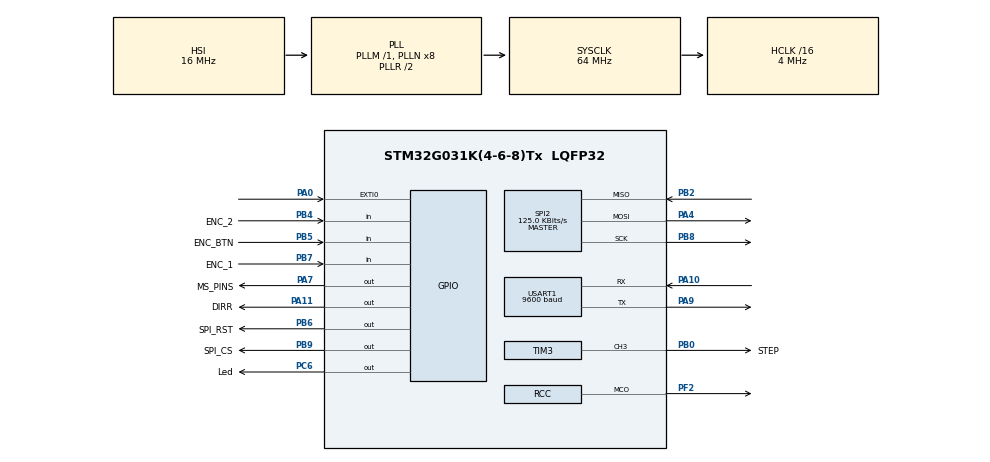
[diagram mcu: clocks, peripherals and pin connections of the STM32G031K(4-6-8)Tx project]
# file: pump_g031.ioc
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Mcu.Family=STM32G0
Mcu.Name=STM32G031K(4-6-8)Tx
Mcu.Package=LQFP32
NVIC.EXTI0_1_IRQn=true\:0\:0\:false\:false\:true\:true\:true
NVIC.FLASH_IRQn=true\:0\:0\:false\:false\:true\:true\:true
NVIC.RCC_IRQn=true\:0\:0\:false\:false\:true\:true\:false
NVIC.TIM2_IRQn=true\:0\:0\:false\:false\:true\:true\:true
PA0.Signal=GPXTI0
PA10.Mode=Asynchronous
PA10.Signal=USART1_RX
PA11\ [PA9].GPIO_Label=DIRR
PA11\ [PA9].Signal=GPIO_Output
PA13.Mode=Serial_Wire
PA13.Signal=SYS_SWDIO
PA14-BOOT0.Mode=Serial_Wire
PA14-BOOT0.Signal=SYS_SWCLK
PA4.Mode=Full_Duplex_Master
PA4.Signal=SPI2_MOSI
PA7.GPIO_Label=MS_PINS
PA7.Signal=GPIO_Output
PA9.Mode=Asynchronous
PA9.Signal=USART1_TX
PB0.GPIO_Label=STEP
PB0.Signal=S_TIM3_CH3
PB2.Mode=Full_Duplex_Master
PB2.Signal=SPI2_MISO
PB4.GPIO_Label=ENC_2
PB4.GPIO_PuPd=GPIO_PULLUP
PB4.Signal=GPIO_Input
PB5.GPIO_Label=ENC_BTN
PB5.GPIO_PuPd=GPIO_PULLUP
PB5.Signal=GPIO_Input
PB6.GPIO_Label=SPI_RST
PB6.Signal=GPIO_Output
PB7.GPIO_Label=ENC_1
PB7.GPIO_PuPd=GPIO_PULLUP
PB7.Signal=GPIO_Input
PB8.Mode=Full_Duplex_Master
PB8.Signal=SPI2_SCK
PB9.GPIO_Label=SPI_CS
PB9.Signal=GPIO_Output
PC6.GPIO_Label=Led
PC6.Signal=GPIO_Output
PF2\ -\ NRST.Mode=Clock-out
PF2\ -\ NRST.Signal=RCC_MCO
ProjectManager.HeapSize=0x200
ProjectManager.StackSize=0x400
ProjectManager.TargetToolchain=MDK-ARM V5.27
RCC.ADCFreq_Value=64000000
RCC.AHBCLKDivider=RCC_SYSCLK_DIV16
RCC.AHBFreq_Value=4000000
RCC.APB1CLKDivider=RCC_HCLK_DIV16
RCC.CortexFreq_Value=4000000
RCC.EXTERNAL_CLOCK_VALUE=12288000
RCC.HCLKFreq_Value=4000000
RCC.HSE_VALUE=8000000
RCC.HSI_VALUE=16000000
RCC.LSE_VALUE=32768
RCC.SYSCLKFreq_VALUE=64000000
RCC.SYSCLKSource=RCC_SYSCLKSOURCE_PLLCLK
RCC.VCOOutputFreq_Value=128000000
SH.S_TIM3_CH3.0=TIM3_CH3,Output Compare3 CH3
SPI2.BaudRatePrescaler=SPI_BAUDRATEPRESCALER_2
SPI2.CLKPhase=SPI_PHASE_2EDGE
SPI2.CLKPolarity=SPI_POLARITY_LOW
SPI2.CRCCalculation=SPI_CRCCALCULATION_DISABLE
SPI2.CalculateBaudRate=125.0 KBits/s
SPI2.Direction=SPI_DIRECTION_2LINES
SPI2.Mode=SPI_MODE_MASTER
SPI2.VirtualType=VM_MASTER
TIM2.Period=1000
TIM2.Prescaler=500-1
TIM3.AutoReloadPreload=TIM_AUTORELOAD_PRELOAD_ENABLE
TIM3.Channel-Output\ Compare3\ CH3=TIM_CHANNEL_3
TIM3.OCMode_3=TIM_OCMODE_FORCED_ACTIVE
TIM3.Period=1000
TIM3.TIM_MasterOutputTrigger=TIM_TRGO_UPDATE
USART1.BaudRate=9600
USART1.VirtualMode-Asynchronous=VM_ASYNC
VP_TIM2_VS_ClockSourceINT.Mode=Internal
VP_TIM3_VS_ClockSourceINT.Mode=Internal
board=custom

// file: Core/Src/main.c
/* USER CODE BEGIN Header */
/**
  ******************************************************************************
  * @file           : main.c
  * @brief          : Main program body
  ******************************************************************************
  * @attention
  *
  * <h2><center>&copy; Copyright (c) 2021 STMicroelectronics.
  * All rights reserved.</center></h2>
  *
  * This software component is licensed by ST under BSD 3-Clause license,
  * the "License"; You may not use this file except in compliance with the
  * License. You may obtain a copy of the License at:
  *                        opensource.org/licenses/BSD-3-Clause
  *
  ******************************************************************************
  */
/* USER CODE END Header */
#include "main.h"

/* USER CODE BEGIN Includes */
#include "stm32g0xx_hal.h"
#include "stdlib.h"
#include "string.h"
#include "stdio.h"
#include "math.h"
#include "bitmap.h"
#include "asciiFont.h"
/* USER CODE END Includes */

/* USER CODE BEGIN PTD */
#ifdef __GNUC__						//Printf function
  /* With GCC, small printf (option LD Linker->Libraries->Small printf
     set to 'Yes') calls __io_putchar() */
  #define PUTCHAR_PROTOTYPE int __io_putchar(int ch)
#else
  #define PUTCHAR_PROTOTYPE int fputc(int ch, FILE *f)
#endif /* __GNUC__ */

	#ifdef __GNUC__
#define GETCHAR_PROTOTYPE int __io_getchar (void)
#else
#define GETCHAR_PROTOTYPE int fgetc(FILE * f)
#endif /* __GNUC__ */

/* USER CODE END PTD */

SPI_HandleTypeDef hspi2;

TIM_HandleTypeDef htim2;
TIM_HandleTypeDef htim3;

UART_HandleTypeDef huart1;

void SystemClock_Config(void);
static void MX_GPIO_Init(void);
static void MX_TIM2_Init(void);
static void MX_TIM3_Init(void);
static void MX_USART1_UART_Init(void);
static void MX_SPI2_Init(void);

/* USER CODE BEGIN 0 */
//*************************Vals
uint16_t Count=0;
uint32_t TIM_CLOCK=500000;
uint16_t Frequency=0;
uint16_t Arr=0;
uint16_t Psc=0;
uint32_t abcdsw=0;
float mili_to_height=0;
int open_tims=0;

uint16_t milliLiter, timSec, direcT = 0;
char mode[10];
//*************************UART
uint16_t UARTmenuBuff[1]={'0'};
uint8_t UARTmenuScale=0;
int UARTSetmenu=0;
uint8_t UARTSetmenuScale=0;

int UARTmenu=3;
int UARTtime, UARTdistance, UARTdirection, UARTSelection;
char syringe[10];
int selection=0;
float Syringe_volume=0;
float Syringe_radius, Syringe_height;
#define M_PI 3.14159265358979323846
//*************************GLCD
uint8_t startRow, startCol, endRow, endCol; // coordinates of the dirty rectangle
uint8_t numRows = 64;
uint8_t numCols = 128;
uint8_t Graphic_Check = 0;
uint8_t image[1024];
int cursor = 0;
int line, line_buffer = 0;
int main_menu ,sub_menu_1, sub_menu_2, sub_menu_3 = 0;
int row_tracer = 0;
int GLCDtime, GLCDdistance, GLCDdirection;
int GLCD_active = 0;
int GLCD_pump_active = 0;
//*************************Encoder
int encoder_pos = 0;
int encoder_button = 0;
int encoder_buffer = 0;
int encoder_last_post = 0;

int encoder_pos_right =0;
int encoder_pos_left =0;
//*************************Functions
//******************glcd functions***************************************//
void SendByteSPI(uint8_t byte)
{//Spi bridge
	HAL_SPI_Transmit(&hspi2, &byte, 1,0xFFFF);
}

void ST7920_SendCmd (uint8_t cmd)
{//Commands
	HAL_GPIO_WritePin(SPI_CS_GPIO_Port, SPI_CS_Pin, GPIO_PIN_SET);  // PUll the CS high
	SendByteSPI(0xf8+(0<<1));  // send the SYNC + RS(0)
	SendByteSPI(cmd&0xf0);  // send the higher nibble first
	SendByteSPI((cmd<<4)&0xf0);  // send the lower nibble
	HAL_Delay(1);
	HAL_GPIO_WritePin(SPI_CS_GPIO_Port, SPI_CS_Pin, GPIO_PIN_RESET);  // PUll the CS LOW
}

void ST7920_SendData (uint8_t data)
{//Actual data
	HAL_GPIO_WritePin(SPI_CS_GPIO_Port, SPI_CS_Pin, GPIO_PIN_SET);  // PUll the CS high
	SendByteSPI(0xf8+(1<<1));  // send the SYNC + RS(1)
	SendByteSPI(data&0xf0);  // send the higher nibble first
	SendByteSPI((data<<4)&0xf0);  // send the lower nibble
	HAL_Delay(1);
	HAL_GPIO_WritePin(SPI_CS_GPIO_Port, SPI_CS_Pin, GPIO_PIN_RESET);  // PUll the CS LOW
}

void ST7920_SendString(int row, int col, char* string)
{//For text mode: 4 row 20 char string
	switch (row)
	{
		case 0:
			col |= 0x80;
			break;
		case 1:
			col |= 0x90;
			break;
		case 2:
			col |= 0x88;
			break;
		case 3:
			col |= 0x98;
			break;
		default:
			col |= 0x80;
			break;
	}
	ST7920_SendCmd(col);

	while (*string){
		ST7920_SendData(*string++);
    }
}
void ST7920_SendInteger(int row, int col, int integer)
{//For text mode: 4 row 20 char integer
	switch (row)
	{
		case 0:
			col |= 0x80;
			break;
		case 1:
			col |= 0x90;
			break;
		case 2:
			col |= 0x88;
			break;
		case 3:
			col |= 0x98;
			break;
		default:
			col |= 0x80;
			break;
	}
	ST7920_SendCmd(col);

		for(int q =0; q<sizeof(integer)-1; q++){
		char numStr[sizeof(integer)-1];
		sprintf(numStr,"%d", integer);
		ST7920_SendData(numStr[q]);
    }
}
void ST7920_GraphicMode (int enable)   // 1-enable, 0-disable
{//1: Graphic mode, 0: Text mode
	if (enable == 1)
	{
		ST7920_SendCmd(0x30);  // 8 bit mode
		HAL_Delay (1);
		ST7920_SendCmd(0x34);  // switch to Extended instructions
		HAL_Delay (1);
		ST7920_SendCmd(0x36);  // enable graphics
		HAL_Delay (1);
		Graphic_Check = 1;  // update the variable
	}

	else if (enable == 0)
	{
		ST7920_SendCmd(0x30);  // 8 bit mode
		HAL_Delay (1);
		Graphic_Check = 0;  // update the variable
	}
}

void ST7920_Init (void)
{//Initialization
	HAL_GPIO_WritePin(SPI_RST_GPIO_Port, SPI_RST_Pin, GPIO_PIN_RESET);  // RESET=0
	HAL_Delay(10);   // wait for 10ms
	HAL_GPIO_WritePin(SPI_RST_GPIO_Port, SPI_RST_Pin, GPIO_PIN_SET);  // RESET=1

	HAL_Delay(50);   //wait for >40 ms

	ST7920_SendCmd(0x30);  // 8bit mode
	HAL_Delay(15);  //  >100us delay

	ST7920_SendCmd(0x30);  // 8bit mode
	HAL_Delay(5);  // >37us delay

	ST7920_SendCmd(0x08);  // D=0, C=0, B=0
	HAL_Delay(15);  // >100us delay

	ST7920_SendCmd(0x01);  // clear screen
	HAL_Delay(12);  // >10 ms delay

	ST7920_SendCmd(0x06);  // cursor increment right no shift
	HAL_Delay(1);  // 1ms delay

	ST7920_SendCmd(0x0C);  // D=1, C=0, B=0
    HAL_Delay(1);  // 1ms delay

	ST7920_SendCmd(0x02);  // return to home
	HAL_Delay(1);  // 1ms delay
}

void ST7920_Clear()
{//Clear
	if (Graphic_Check == 1)  // if the graphic mode is set
	{
		uint8_t x, y;
		for(y = 0; y < 64; y++)
		{
			if(y < 32)
			{
				ST7920_SendCmd(0x80 | y);
				ST7920_SendCmd(0x80);
			}
			else
			{
				ST7920_SendCmd(0x80 | (y-32));
				ST7920_SendCmd(0x88);
			}
			for(x = 0; x < 8; x++)
			{
				ST7920_SendData(0);
				ST7920_SendData(0);
			}
		}
	}

	else
	{
		ST7920_SendCmd(0x01);   // clear the display using command
		HAL_Delay(2); // delay >1.6 ms
	}
}

void ST7920_DrawBitmap(const unsigned char* graphic)
{
	uint8_t x, y;
	for(y = 0; y < 64; y++)
	{
		if(y < 32)
		{
			for(x = 0; x < 8; x++)							// Draws top half of the screen.
			{												// In extended instruction mode, vertical and horizontal coordinates must be specified before sending data in.
				ST7920_SendCmd(0x80 | y);				// Vertical coordinate of the screen is specified first. (0-31)
				ST7920_SendCmd(0x80 | x);				// Then horizontal coordinate of the screen is specified. (0-8)
				ST7920_SendData(graphic[2*x + 16*y]);		// Data to the upper byte is sent to the coordinate.
				ST7920_SendData(graphic[2*x+1 + 16*y]);	// Data to the lower byte is sent to the coordinate.
			}
		}
		else
		{
			for(x = 0; x < 8; x++)							// Draws bottom half of the screen.
			{												// Actions performed as same as the upper half screen.
				ST7920_SendCmd(0x80 | (y-32));			// Vertical coordinate must be scaled back to 0-31 as it is dealing with another half of the screen.
				ST7920_SendCmd(0x88 | x);
				ST7920_SendData(graphic[2*x + 16*y]);
				ST7920_SendData(graphic[2*x+1 + 16*y]);
			}
		}

	}
}

//******************encoder functions************************************//
void encoder_movements(){
//if(cursor == 1){
	if((HAL_GPIO_ReadPin(ENC_BTN_GPIO_Port,ENC_BTN_Pin) == 0) || (line_buffer == 2)){
		while(HAL_GPIO_ReadPin(ENC_BTN_GPIO_Port,ENC_BTN_Pin) == 0);
//		if(encoder_button == 0){
		if(encoder_button == 1){
			if(line == 1){
				main_menu = 1;
			}
			else if(line == 2){
				main_menu = 2;
			}
			else{
				main_menu = 0;
				encoder_button=0;
			}
		}
		if((encoder_button == 2) && (main_menu == 3)){
			if(line == 0){
				sub_menu_1 = 0;
				main_menu = 0;
			}
			else if(line == 1){
				sub_menu_1 = 1;
				main_menu = 0;
			}
			else if(line == 2){
				sub_menu_1 = 2;
				main_menu = 0;
			}
			else if(line == 3){
				sub_menu_1 = 3;
				main_menu = 0;

			}
			else{
				encoder_button=1;
				main_menu = 1;
			}
		}
		if((encoder_button == 3) && (sub_menu_1 == 5)){
			if(line == 1){
				sub_menu_2 = 0;
				main_menu = 0;
			}
			else if(line == 2){
				sub_menu_2 = 1;
				main_menu = 0;
			}
			else if(line == 3){
				sub_menu_1 = 0;
				sub_menu_2 = 0;
				encoder_button = 1;
				main_menu = 1;
			}
			else{
				encoder_button=2;
				sub_menu_1 = 0;
				main_menu = 0;
			}
		}
		else if((encoder_button == 3) && (sub_menu_1 == 6)){
			if(line == 2){
				sub_menu_2 = 2;
				main_menu = 0;
				line_buffer = 2;
			}
			else if(line == 3){
				sub_menu_1 = 0;
				sub_menu_2 = 0;
				encoder_button = 1;
				main_menu = 1;
			}
			else{
				encoder_button=2;
				sub_menu_1 = 1;
				main_menu = 0;
			}
		}
		else if((encoder_button == 3) && (sub_menu_1 == 7)){
			if(line == 2){
				sub_menu_2 = 3;
				main_menu = 0;
				line_buffer = 2;
			}
			else if(line == 3){
				sub_menu_1 = 0;
				sub_menu_2 = 0;
				encoder_button = 1;
				main_menu = 1;
			}
			else{
				encoder_button=2;
				sub_menu_1 = 2;
				main_menu = 0;
			}
		}
		else if((encoder_button == 3) && (sub_menu_1 == 8)){
			if(line == 2){
				sub_menu_2 = 4;
				main_menu = 0;
				line_buffer = 2;
			}
			else if(line == 3){
				sub_menu_1 = 4;
				sub_menu_2 = 0;
				encoder_button = 2;
				main_menu = 0;
			}
			else{
				encoder_button=2;
				sub_menu_1 = 3;
				main_menu = 0;
			}
		}
		if((encoder_button == 4) && (sub_menu_2 == 5)){
			if(line == 1){
				sub_menu_3 = 0;////////////////////////activate the selection
				main_menu = 0;
			}
			else if(line == 2){
				sub_menu_3 = 1;////////////////////////activate the selection
				main_menu = 0;
			}
			else if(line == 3){
				encoder_button=1;
				main_menu = 1;
			}
			else{
				encoder_button=3;
				sub_menu_2 = 0;
			}
		}
		else if((encoder_button == 4) && (sub_menu_2 == 6)){
			if(line == 1){
				sub_menu_1 = 0;////////////////////////activate the selection cursor
				main_menu = 0;
			}
			else if(line == 2){
				sub_menu_1 = 1;////////////////////////activate the selection cursor
				main_menu = 0;
			}
			else if(line == 3){
				encoder_button=1;
				main_menu = 1;
			}
			else{
				encoder_button=3;
				sub_menu_2 = 1;
			}
		}
		else if((encoder_button == 4) && (sub_menu_2 == 7)){
			if(line_buffer == 2){
				ST7920_SendInteger(2, 4, line); //////////buradan devam
				HAL_Delay(1);
				main_menu = 0;
				encoder_button = 3;
				sub_menu_2 = 7;
				line_buffer = 2;
			}
			else if(line == 3){
				encoder_button=1;
				main_menu = 1;
			}
			else{
				encoder_button=3;
				sub_menu_2 = 2;
			}
		}
		else if((encoder_button == 4) && (sub_menu_2 == 8)){
			if(line_buffer == 2){
				ST7920_SendInteger(2, 4, line); //////////buradan devam
				HAL_Delay(1);
				main_menu = 0;
				encoder_button = 3;
				sub_menu_2 = 8;
				line_buffer = 2;
			}
			else if(line == 3){
				encoder_button=1;
				main_menu = 1;
			}
			else{
				encoder_button=3;
				sub_menu_2 = 3;
			}
		}
		else if((encoder_button == 4) && (sub_menu_2 == 9)){
			if(line_buffer == 2){
				ST7920_SendInteger(2, 4, line); //////////buradan devam
				HAL_Delay(1);
				main_menu = 0;
				encoder_button = 3;
				sub_menu_2 = 9;
				line_buffer = 2;
			}
			else if(line == 3){
				encoder_button=2;
				sub_menu_1 =3;
				main_menu = 1;
			}
			else{
				encoder_button=3;
				sub_menu_2 = 4;
			}
		}
		encoder_button++;
		if((HAL_GPIO_ReadPin(ENC_BTN_GPIO_Port,ENC_BTN_Pin) == 0) && (line_buffer == 2)){
			line_buffer = 0;
			row_tracer = 0;
		}
//		else if(encoder_button == 1){
//			encoder_button = 0;
//		}
////////////////////////////////////
		encoder_buffer = HAL_GPIO_ReadPin(ENC_2_GPIO_Port, ENC_2_Pin);
		if(encoder_buffer != encoder_last_post){ //rotating

			if(HAL_GPIO_ReadPin(ENC_1_GPIO_Port, ENC_1_Pin) != encoder_buffer){ //counter clockwise
				encoder_pos--;
				encoder_pos_left = 1;
				encoder_pos_right =0;

			}
			else{
				encoder_pos++;//clockwise
				encoder_pos_left = 0;
				encoder_pos_right =1;
			}
		}
		encoder_last_post = encoder_buffer;
////////////////////////////////
	}

	else{

		encoder_buffer = HAL_GPIO_ReadPin(ENC_2_GPIO_Port, ENC_2_Pin);
		if(encoder_buffer != encoder_last_post){ //rotating

			if(HAL_GPIO_ReadPin(ENC_1_GPIO_Port, ENC_1_Pin) != encoder_buffer){ //counter clockwise
				encoder_pos--;
				encoder_pos_left = 1;
				encoder_pos_right =0;

			}
			else{
				encoder_pos++;//clockwise
				encoder_pos_left = 0;
				encoder_pos_right =1;
			}
		}
		encoder_last_post = encoder_buffer;
	}
//}
//else if((HAL_GPIO_ReadPin(ENC_BTN_GPIO_Port,ENC_BTN_Pin) == 0) && (cursor == 0)){
//	cursor = 1;
//}
}

//******************fusion functions***************************************//
void SetFrequency(uint16_t Freq){

	Arr=(TIM_CLOCK/Freq);
	TIM3->CCMR2 = TIM_OCMODE_TOGGLE;
	if(Arr > 65535){
	Psc = (TIM_CLOCK/(Freq*65536))-1;
	Arr = 65535;
	TIM3->ARR = Arr;
	TIM3->CCR3 = (Arr*5)/10;

	TIM3->PSC=Psc;
	}
	else{

	TIM3->PSC = 0;
	TIM3->ARR = Arr;
	TIM3->CCR3 = (Arr*5)/10;
	}
}

void fusion(uint8_t mL, uint8_t sec, uint8_t dir){ // 1. Volume, 2. Time, 3. Mode
	int freq=0;
	mili_to_height= ((float)mL)/((float)M_PI*Syringe_radius*Syringe_radius);
	// 0.2cm = 1 revolution = 3200*(2/10) pulse = 640 pulse
	if(dir == 1){
		HAL_GPIO_WritePin(DIRR_GPIO_Port, DIRR_Pin, GPIO_PIN_SET);
		strcpy(mode, "Re-Load");
		if(open_tims == 0){
			HAL_TIM_Base_Start_IT(&htim2);
			HAL_TIM_OC_Start(&htim3, TIM_CHANNEL_3);
			open_tims++;
		}
		while( Count < sec+1){
			freq= round((mili_to_height*640)/sec);
			SetFrequency(freq);
		}
		HAL_TIM_Base_Stop_IT(&htim2);
		HAL_TIM_OC_Stop(&htim3, TIM_CHANNEL_3);
		Count=0;
		open_tims=0;
		TIM2->EGR |= (1U <<0);
	}
	else if(dir == 2){
		HAL_GPIO_WritePin(DIRR_GPIO_Port, DIRR_Pin, GPIO_PIN_RESET);
		strcpy(mode, "Inject");
	if(open_tims == 0){
			HAL_TIM_Base_Start_IT(&htim2);
			HAL_TIM_OC_Start(&htim3, TIM_CHANNEL_3);
			open_tims++;
		}
		while( Count < sec+1){
			freq= round((mili_to_height*640)/sec);
			SetFrequency(freq);
		}
		HAL_TIM_Base_Stop_IT(&htim2);
		HAL_TIM_OC_Stop(&htim3, TIM_CHANNEL_3);
		Count=0;
		open_tims=0;
		TIM2->EGR |= (1U <<0);

	}
	else{
		HAL_TIM_Base_Stop_IT(&htim2);
		HAL_TIM_OC_Stop(&htim3, TIM_CHANNEL_3);
		Count=0;
		open_tims=0;
		TIM2->EGR |= (1U <<0);
	}
}

void setSyringe(int Selection){
	switch(Selection){
		case 0:{
			Syringe_volume= ((float)M_PI*Syringe_radius*Syringe_radius)*(Syringe_height);
			break;
		}
		case 1:{
			Syringe_volume=100;
			Syringe_radius=(float)1.45673124079;
			Syringe_height=15;
			break;
		}
		case 2:{
			Syringe_volume=50;
			Syringe_radius=(float)1.41047395887;
			Syringe_height=8;
			break;
		}
		case 3:{
			Syringe_volume=25;
			Syringe_radius=0.40;
			Syringe_height=4;
			break;
		}
		case 4:{
			Syringe_volume=5;
			Syringe_radius=(float)0.62304316706;
			Syringe_height=4.1;
			break;
		}
		case 5:{
			Syringe_volume=2;
			Syringe_radius=0.40;
			Syringe_height=4;
			break;
		}
		default:{
			Syringe_volume=50;
			Syringe_radius=(float)1.41047395887;
			Syringe_height=8;
			break;
		}
	}
}

//******************menu functions*****************************************//
//**********************************************GLCD
void GLCDmenu(){
//	if(HAL_GPIO_ReadPin(ENC_BTN_GPIO_Port,ENC_BTN_Pin) == 0){cursor =1;}
	encoder_movements();

		if((encoder_button == 1) && (main_menu == 0)){//standby
			ST7920_Clear();
			HAL_Delay(1);

			ST7920_SendString(0,0,"......MENU......");
			ST7920_SendString(1,0,"Program!        "); //encoder_button = 2   , main menu = 1
			ST7920_SendString(2,0,"Kill!           "); //encoder_button = 2   , main menu = 2
			if(GLCD_pump_active == 1){
				ST7920_SendString(3,0,"status: active !"); //encoder_button = dont_care
				HAL_Delay(GLCDtime*1000);
			}
			else{
				ST7920_SendString(3,0,"status: deactive"); //encoder_button = dont_care
			}
			ST7920_SendCmd(0x80);
			HAL_Delay(1);

			sub_menu_1=0;
			sub_menu_2=0;
			sub_menu_3=0;
			main_menu =3;
//			GLCD_pump_active = 0;
		}
		if((encoder_button == 2) && (main_menu == 1)){//program menu
			ST7920_Clear();
			HAL_Delay(1);

			ST7920_SendString(0,0,"Select Syringe"); //go to sub_menu1 , 0
			ST7920_SendString(1,0,"Set Volume");		 //go to sub_menu1 , 1
			ST7920_SendString(2,0,"Set Time");			 //go to sub_menu1 , 2
			ST7920_SendString(3,0,"Done.");					 //go to sub_menu1 , 3
			ST7920_SendCmd(0x80);
			HAL_Delay(1);
			line=0;
			main_menu =3;
		}
		if((encoder_button == 2) && (main_menu == 2)){//kill menu
			ST7920_Clear();
			HAL_Delay(1);

			ST7920_SendString(0,0,"Emergancy Stop !");
			ST7920_SendString(1,0,"Pressed.       !");
			ST7920_SendString(2,0,"Process KILLED.!");
			ST7920_SendString(3,0,"Time left:      ");
			ST7920_SendCmd(0x80);
			HAL_Delay(3000);
			line=0;
			encoder_button=1;
			main_menu=0;
			sub_menu_1=0;
//			ST7920_SendCmd(0xC);
			HAL_Delay(5);
		}
		if((encoder_button == 3) && (sub_menu_1 == 0)){//Select Syringe
			ST7920_Clear();
			HAL_Delay(1);

			ST7920_SendString(0,0,"Syringe:        ");
			ST7920_SendString(1,0,"Make a custom?  "); //go to sub_menu_2 , 0
			ST7920_SendString(2,0,"Use a Premade?  "); //go to sub_menu_2 , 1
			ST7920_SendString(3,0,"Done.           "); //turn back
			ST7920_SendCmd(0x80);
			HAL_Delay(1);
			line=0;
			sub_menu_1 = 5;
		}
		if((encoder_button == 3) && (sub_menu_1 == 1)){//Select Volume
			ST7920_Clear();
			HAL_Delay(1);
			ST7920_SendString(0,0,"Volume:         ");
			ST7920_SendString(1,0,"Max: 5 mL       ");
			ST7920_SendString(2,0,"Enter:          "); //go to sub_menu_2 , 2
			ST7920_SendString(3,0,"Done.           "); //turn back
			ST7920_SendCmd(0x80);
			HAL_Delay(1);
			line=0;
			sub_menu_1 = 6;
		}
		if((encoder_button == 3) && (sub_menu_1 == 2)){//Set Time
			ST7920_Clear();
			HAL_Delay(1);
			ST7920_SendString(0,0,"Time:           ");
			ST7920_SendString(1,0,"Max: 10000000000");
			ST7920_SendString(2,0,"Enter:          "); //go to sub_menu_2 , 3
			ST7920_SendString(3,0,"Done.           "); //turn back
			ST7920_SendCmd(0x80);
			HAL_Delay(1);
			line=0;
			sub_menu_1 = 7;
		}
		if((encoder_button == 3) && (sub_menu_1 == 3)){//Pump Programed
			ST7920_Clear();
			HAL_Delay(1);
			ST7920_SendString(0,0,"Pump Programed !");
			ST7920_SendString(1,0,"Select a mode  !");
			ST7920_SendString(2,0,"Mode:           "); // go to sub_menu_2 , 4
			if(GLCDdirection == 1){
				ST7920_SendString(2,4,"Inject");
			}
			else if(GLCDdirection == 2){
				ST7920_SendString(2,4,"Re-Load");
			}
			ST7920_SendString(3,0,"Done.           "); // go pump. sub_menu_1 , 4
			ST7920_SendCmd(0x80);
			HAL_Delay(1);
			line=0;
			sub_menu_1 = 8;
		}
		if((encoder_button == 3) && (sub_menu_1 == 4)){//Pump Active
			ST7920_Clear();
			HAL_Delay(1);
			ST7920_SendCmd(0xC);
			HAL_Delay(5);
			ST7920_SendString(0,0,"Pump is Active !");
			ST7920_SendString(1,0,"Vol:");
			ST7920_SendInteger(1,4,GLCDdistance);
			ST7920_SendString(2,0,"Time:"); // go to sub_menu_2 , 4
			ST7920_SendInteger(2,4,GLCDtime);
			ST7920_SendString(3,0,"Mode:"); // go pump.

			if(GLCDdirection == 1){
				ST7920_SendString(3,4,"Inject");
			}
			else if(GLCDdirection == 2){
				ST7920_SendString(3,4,"Re-Load");
			}
//			ST7920_SendCmd(0x80);
			HAL_Delay(1000);
			ST7920_Clear();
			HAL_Delay(1);

			line=0;
			encoder_button=1;
			main_menu=0;
			sub_menu_1=0;
			sub_menu_2=0;
			HAL_Delay(5);
			GLCD_pump_active = 1;
			milliLiter = GLCDdistance;
			timSec = GLCDtime;
			direcT = GLCDdirection;

			ST7920_SendString(0,0,"......MENU......");
			ST7920_SendString(1,0,"Program!        "); //encoder_button = 2   , main menu = 1
			ST7920_SendString(2,0,"Kill!           "); //encoder_button = 2   , main menu = 2
			if(GLCD_pump_active == 1){
				ST7920_SendString(3,0,"status: active !"); //encoder_button = dont_care
			}
			else{
				ST7920_SendString(3,0,"status: deactive"); //encoder_button = dont_care
			}

		}
		if((encoder_button == 4) && (sub_menu_2 == 0)){//Create a syringe
			ST7920_Clear();
			HAL_Delay(1);

			ST7920_SendString(0,0,"Create a Syringe");
			ST7920_SendString(1,0,"Height:         "); //go to sub_menu_3 , 0
			ST7920_SendString(2,0,"Radius:         "); //go to sub_menu_1 , 1
			ST7920_SendString(3,0,"Done.           "); //go back
			ST7920_SendCmd(0x80);
			HAL_Delay(1);
			line=0;
			sub_menu_2 = 5;
		}
		if((encoder_button == 4) && (sub_menu_2 == 1)){//Syrince entrance
			ST7920_Clear();
			HAL_Delay(1);

			ST7920_SendString(0,0,"Select a Syringe");
			ST7920_SendString(1,0,"Default, 2, 5   "); //set selected
			ST7920_SendString(2,0,"  25, 50, 100   "); //set selected
			ST7920_SendString(3,0,"Done.           "); //go back
			ST7920_SendCmd(0x80);
			HAL_Delay(1);
			line=0;
			sub_menu_2 = 6;
		}
		if((encoder_button == 4) && (sub_menu_2 == 2)){//Volume entrance
			if(line_buffer == 2){
				row_tracer = 1;
			}
			ST7920_Clear();
			HAL_Delay(1);
			ST7920_SendString(0,0,"Volume:         ");
			ST7920_SendString(1,0,"Max: selected?  ");
			ST7920_SendString(2,0,"Enter:          "); //select
			ST7920_SendInteger(2,4, line);
			GLCDdistance = line;
			ST7920_SendString(3,0,"Done.           "); //go back
			HAL_Delay(1);
			sub_menu_2 = 7;
		}
		if((encoder_button == 4) && (sub_menu_2 == 3)){//Time entrance
			if(line_buffer == 2){
				row_tracer = 1;
			}
			ST7920_Clear();
			HAL_Delay(1);
			ST7920_SendString(0,0,"Time:           ");
			ST7920_SendString(1,0,"Max: 10000000000");
			ST7920_SendString(2,0,"Enter:"); //select
			ST7920_SendInteger(2,4, line);
			GLCDtime = line;
			ST7920_SendString(3,0,"Done.           "); //go back
			HAL_Delay(1);
			sub_menu_2 = 8;
		}
		if((encoder_button == 4) && (sub_menu_2 == 4)){//Select Mode
			if(line_buffer == 2){
				row_tracer = 1;
			}
			ST7920_Clear();
			HAL_Delay(1);
			ST7920_SendString(0,0,"Select pump mode");
			ST7920_SendString(1,0,"Infusion/Re-Load");
			ST7920_SendString(2,0,"Mode:           "); // select
			ST7920_SendInteger(2,4, line);
			GLCDdirection = line;
			ST7920_SendString(3,0,"Done.           "); // go back
			HAL_Delay(1);
			sub_menu_2 = 9;
		}

		if(cursor == 0){ // && (encoder_button == 1))
			cursor = 1;
			ST7920_SendCmd(0xF);
			HAL_Delay(5);
		}
		else if(cursor == 1){ // && (encoder_button == 0))
			cursor = 0;
			ST7920_SendCmd(0xC);
			HAL_Delay(5);
		}
//	}
	if(encoder_pos_right == 1){
		line++;
		encoder_pos_right=0;
		if(row_tracer == 0){
			if(line == 0){ST7920_SendCmd(0x80);}
			else if(line == 1){ST7920_SendCmd(0x90);}
			else if(line == 2){ST7920_SendCmd(0x88);}
			else if(line == 3){ST7920_SendCmd(0x98);}
			if(line > 3.5){line=0; ST7920_SendCmd(0x80);}
			encoder_pos_right = 0;
		}
	}
	else if(encoder_pos_left == 1){
		line--;
		encoder_pos_left = 0;
		if(row_tracer == 0){
			if(line == 0){ST7920_SendCmd(0x80);}
			else if(line == 1){ST7920_SendCmd(0x90);}
			else if(line == 2){ST7920_SendCmd(0x88);}
			else if(line == 3){ST7920_SendCmd(0x98);}
			if(line < -0.5){line=3; ST7920_SendCmd(0x98);}
			encoder_pos_left = 0;
		}
	}

}
//**********************************************UART
void UARTupMenu(){
		if(UARTmenu==1){
			//***For entering the SetMenu(s)*****...gets UARTSetmenu input but doesn't wait........
			printf("\n\n\rFusion Set Menu:\n\r0.selectSyringe\n\r1.setVolume\n\r2.setTime\n\r3.setDirection\n\r4.Exit\n\t");
			memset(&UARTSetmenu, '\0', sizeof(UARTSetmenu));
			HAL_UART_Receive(&huart1, (uint8_t *)&UARTSetmenuScale, 1, 0xFFFF);
			UARTSetmenu=UARTSetmenuScale-48;
			//*************************************************************************************
			if(UARTSetmenu==0)//Set Syringe
			{

				//***Menu for setting the Volume (Milli liter)********************

				printf("\n\rSelect Syringe Model: \n");
				printf("\n\r0- Custom\n\r1- 100mL\n\r2- 50mL\n\r3- 25mL\n\r4- 5mL\n\r5- 2mL\n\rSelection: ");
				scanf("%d",&UARTSelection);
				selection=UARTSelection;
				if(!((selection==0)||(selection==1)||(selection==2)||(selection==3)||(selection==4)||(selection==5))){
					printf("\n\rInvalid Selection...\n\r");
					printf("\n\rSyringe selected 50mL by default.\n\r");
				}
				if(selection == 0){
					printf("\n\rEnter radius (in centimeter): ");
					scanf("%f",&Syringe_radius);
					printf("\n\rRadius set to %.2f cm." , Syringe_radius);

					printf("\n\rEnter height (in centimeter): ");
					scanf("%f",&Syringe_height);
					printf("\n\rRadius set to %.2f cm." , Syringe_height);

					printf("\n\rCustom Syringe is created.\n\r");

				}
				if(selection == 0){ strcpy(syringe, "Custom Syringe");}
				else if(selection == 1){ strcpy(syringe, "100 mL Syringe"); }
				else if(selection == 2){ strcpy(syringe, "50 mL Syringe");}
				else if(selection == 3){ strcpy(syringe, "25 mL Syringe");}
				else if(selection == 4){ strcpy(syringe, "5 mL Syringe");}
				else if(selection == 5){ strcpy(syringe, "2 mL Syringe");}
				else{strcpy(syringe, "50mL by default");}

				setSyringe(selection);
				printf("\n\rSyringe model set to: %s\n\r\t %.4f mL; with %.2f cm radius and %.2f cm height\n\r",
				syringe, Syringe_volume, Syringe_radius, Syringe_height);	//Prints set volume

				UARTSetmenu++;																//Goes to the next menu automatically
			}

			if(UARTSetmenu==1)//Set Volume
			{
				//***Menu for setting the Volume (Milli liter)********************
				volume_enter:
				printf("\n\rEnter Volume: ");
				scanf("%d",&UARTdistance);
				milliLiter = UARTdistance;
				if(milliLiter > Syringe_volume){
					printf("\n\rYou can't enter volume greater then Syringes volume...\n\r");
					goto volume_enter;
				}
				printf("\nVolume set to: %d Milliliter.\n",milliLiter);	//Prints set volume
				UARTSetmenu++;																//Goes to the next menu automatically
			}

			if(UARTSetmenu==2)//Set Distance
			{
				//***Menu for setting the distance (milimeter)*****************
				time_enter:
				printf("\n\rEnter Time: ");
				scanf("%d",&UARTtime);
				timSec = UARTtime;
				if(0 >= timSec){
					printf("\n\rYou can't enter Invalid time...\n\r");
					goto time_enter;
				}
				printf("\nTime set to: %d Seconds.\n",timSec);	//Prints set time and distance
				UARTSetmenu++;																//Goes to the next menu automatically
			}
			if(UARTSetmenu==3)//Set Direction
			{
				//***Menu for setting the direction (CW - CCW)*****************
				direction_enter:
				printf("\n\rEnter Direction 1(injection) or 2(re-load): ");
				scanf("%d",&UARTdirection);
				direcT = UARTdirection;
				if( !((direcT == 1) || (direcT == 2)) ){
					printf("\n\rYou can't enter Invalid direction...\n\r");
					goto direction_enter;
				}

				if(direcT == 1){ strcpy(mode, "Inject"); }
				else if(direcT == 2){ strcpy(mode, "Re-Load");}
				else { strcpy(mode, "Error");}
				printf("\nDirection set to: %s\n", mode);	//Prints set time and distance
				//Prints the fusion to the screen:
				printf("\n\rFusion: ON, Volume: %d mL, Time: %d sec, Mode: %s\n\r", milliLiter, timSec, mode);

				UARTSetmenu++;																//Goes to the next menu automatically
			}
			if(UARTSetmenu==4)//Exit
			{
				//***Exit Menu for making the Clock ON********************
				memset(&UARTSetmenu, '\0', sizeof(UARTSetmenu));
				UARTmenu=0;
				printf("\n\rExit Settings, Fusion:ON\n\n\r");
			}

		}
		else if(UARTmenu==2){ //Emergancy Stop
			printf("\n\r\t!!! Emergancy Stop: ON !!!\n\r");
			HAL_TIM_OC_Stop(&htim3, TIM_CHANNEL_1);
			HAL_TIM_Base_Stop(&htim2);
			UARTmenu=0;
		}
		else{
		//If anything comes except UARTmenu tabs, it becomes 0, and fusion continues..
		UARTmenu=0;
		}
}
/* USER CODE END 0 */

int main(void)
{

  /* MCU Configuration--------------------------------------------------------*/

  /* Reset of all peripherals, Initializes the Flash interface and the Systick. */
  HAL_Init();

  /* Configure the system clock */
  SystemClock_Config();

  /* Initialize all configured peripherals */
  MX_GPIO_Init();
  MX_TIM2_Init();
  MX_TIM3_Init();
  MX_USART1_UART_Init();
  MX_SPI2_Init();
  /* USER CODE BEGIN 2 */
	encoder_last_post = HAL_GPIO_ReadPin(ENC_2_GPIO_Port, ENC_2_Pin);		//encoder start!
	ST7920_Init();
	HAL_Delay(2); // delay >1.6 ms
//******Fusion Stuff*****************************************************************************************//
	setSyringe(4);
//	HAL_TIM_OC_Start(&htim3, TIM_CHANNEL_3);
	GLCD_active = 0;
	HAL_GPIO_WritePin(DIRR_GPIO_Port, DIRR_Pin, GPIO_PIN_SET);	//set direction to Pull
	HAL_GPIO_WritePin(MS_PINS_GPIO_Port, MS_PINS_Pin, GPIO_PIN_RESET);	//set direction to Pull
	printf("\n\rInfusion pump is gettin ready.\n\r");
	ST7920_SendString(0,0,"  Infusion Pump ");
	ST7920_SendString(1,0,"       Is       ");
	ST7920_SendString(2,0,"  Getting Ready ");
	ST7920_SendString(3,0,"       !!       ");
	HAL_Delay(1000);
	fusion(0,0,0);
	printf("\rPump is ready..!\n");
	ST7920_Clear();
	ST7920_SendString(0,0,"  Infusion Pump ");
	ST7920_SendString(1,0,"       Is       ");
	ST7920_SendString(2,0,"      Ready     ");
	ST7920_SendString(3,0,"Press the button");
	HAL_Delay(100);
//	starto:
//	jumpback:
//	printf("\rEnter Menu Key: ");
//	if(GLCD_active == 0){
//		memset(&UARTSetmenu, '\0', sizeof(UARTSetmenu));

//		HAL_UART_Receive(&huart1, (uint8_t *)&UARTmenuScale, 1, 0xFFFF);
//		UARTmenu=UARTmenuScale-48;
//
//		if (UARTmenu == 1 || UARTmenu == 2){ goto jump; }
//		else{	printf("\n\rInvalid selection.\n\r"); goto starto; }
//	}
//	else{
//		goto while_glcd;
//		goto jump;
//	}

//******Fusion Stuff END*****************************************************************************************//
//	fusion(3, 10, 1);

  /* USER CODE END 2 */

  /* Infinite loop */
  /* USER CODE BEGIN WHILE */
  while (1)
  {
//		while_glcd:
		GLCDmenu();
		if((UARTmenu == 0) || (GLCD_pump_active == 1)){
			fusion(milliLiter, timSec, direcT);		// fusion
			HAL_Delay(GLCDtime*1000);
			GLCD_pump_active = 0;

//			goto jumpback;
		}

//		GLCDmenu();

    /* USER CODE END WHILE */

    /* USER CODE BEGIN 3 */

//******Fusion Stuff******************************************//
		}
//	jump:
//			if(GLCD_active == 0){
//			UARTupMenu();
//			}
//			else{
//			GLCDmenu();
//			}
//		if((UARTmenu == 0) || (GLCD_pump_active == 1)){
//			fusion(milliLiter, timSec, direcT);		// fusion
//			goto jumpback;
//		}

  /* USER CODE END 3 */
}

void SystemClock_Config(void)
{
  RCC_OscInitTypeDef RCC_OscInitStruct = {0};
  RCC_ClkInitTypeDef RCC_ClkInitStruct = {0};
  RCC_PeriphCLKInitTypeDef PeriphClkInit = {0};

  /** Configure the main internal regulator output voltage
  */
  HAL_PWREx_ControlVoltageScaling(PWR_REGULATOR_VOLTAGE_SCALE1);
  /** Initializes the RCC Oscillators according to the specified parameters
  * in the RCC_OscInitTypeDef structure.
  */
  RCC_OscInitStruct.OscillatorType = RCC_OSCILLATORTYPE_HSI;
  RCC_OscInitStruct.HSIState = RCC_HSI_ON;
  RCC_OscInitStruct.HSIDiv = RCC_HSI_DIV1;
  RCC_OscInitStruct.HSICalibrationValue = RCC_HSICALIBRATION_DEFAULT;
  RCC_OscInitStruct.PLL.PLLState = RCC_PLL_ON;
  RCC_OscInitStruct.PLL.PLLSource = RCC_PLLSOURCE_HSI;
  RCC_OscInitStruct.PLL.PLLM = RCC_PLLM_DIV1;
  RCC_OscInitStruct.PLL.PLLN = 8;
  RCC_OscInitStruct.PLL.PLLP = RCC_PLLP_DIV2;
  RCC_OscInitStruct.PLL.PLLQ = RCC_PLLQ_DIV2;
  RCC_OscInitStruct.PLL.PLLR = RCC_PLLR_DIV2;
  if (HAL_RCC_OscConfig(&RCC_OscInitStruct) != HAL_OK)
  {
    Error_Handler();
  }
  /** Initializes the CPU, AHB and APB buses clocks
  */
  RCC_ClkInitStruct.ClockType = RCC_CLOCKTYPE_HCLK|RCC_CLOCKTYPE_SYSCLK
                              |RCC_CLOCKTYPE_PCLK1;
  RCC_ClkInitStruct.SYSCLKSource = RCC_SYSCLKSOURCE_PLLCLK;
  RCC_ClkInitStruct.AHBCLKDivider = RCC_SYSCLK_DIV16;
  RCC_ClkInitStruct.APB1CLKDivider = RCC_HCLK_DIV16;

  if (HAL_RCC_ClockConfig(&RCC_ClkInitStruct, FLASH_LATENCY_0) != HAL_OK)
  {
    Error_Handler();
  }
  /** Initializes the peripherals clocks
  */
  PeriphClkInit.PeriphClockSelection = RCC_PERIPHCLK_USART1;
  PeriphClkInit.Usart1ClockSelection = RCC_USART1CLKSOURCE_PCLK1;
  if (HAL_RCCEx_PeriphCLKConfig(&PeriphClkInit) != HAL_OK)
  {
    Error_Handler();
  }
  HAL_RCC_MCOConfig(RCC_MCO1, RCC_MCO1SOURCE_SYSCLK, RCC_MCODIV_1);
}

static void MX_SPI2_Init(void)
{

  /* SPI2 parameter configuration*/
  hspi2.Instance = SPI2;
  hspi2.Init.Mode = SPI_MODE_MASTER;
  hspi2.Init.Direction = SPI_DIRECTION_2LINES;
  hspi2.Init.DataSize = SPI_DATASIZE_8BIT;
  hspi2.Init.CLKPolarity = SPI_POLARITY_LOW;
  hspi2.Init.CLKPhase = SPI_PHASE_2EDGE;
  hspi2.Init.NSS = SPI_NSS_SOFT;
  hspi2.Init.BaudRatePrescaler = SPI_BAUDRATEPRESCALER_2;
  hspi2.Init.FirstBit = SPI_FIRSTBIT_MSB;
  hspi2.Init.TIMode = SPI_TIMODE_DISABLE;
  hspi2.Init.CRCCalculation = SPI_CRCCALCULATION_DISABLE;
  hspi2.Init.CRCPolynomial = 7;
  hspi2.Init.CRCLength = SPI_CRC_LENGTH_DATASIZE;
  hspi2.Init.NSSPMode = SPI_NSS_PULSE_DISABLE;
  if (HAL_SPI_Init(&hspi2) != HAL_OK)
  {
    Error_Handler();
  }

}

static void MX_TIM2_Init(void)
{

  TIM_ClockConfigTypeDef sClockSourceConfig = {0};
  TIM_MasterConfigTypeDef sMasterConfig = {0};

  htim2.Instance = TIM2;
  htim2.Init.Prescaler = 500-1;
  htim2.Init.CounterMode = TIM_COUNTERMODE_UP;
  htim2.Init.Period = 1000;
  htim2.Init.ClockDivision = TIM_CLOCKDIVISION_DIV1;
  htim2.Init.AutoReloadPreload = TIM_AUTORELOAD_PRELOAD_DISABLE;
  if (HAL_TIM_Base_Init(&htim2) != HAL_OK)
  {
    Error_Handler();
  }
  sClockSourceConfig.ClockSource = TIM_CLOCKSOURCE_INTERNAL;
  if (HAL_TIM_ConfigClockSource(&htim2, &sClockSourceConfig) != HAL_OK)
  {
    Error_Handler();
  }
  sMasterConfig.MasterOutputTrigger = TIM_TRGO_RESET;
  sMasterConfig.MasterSlaveMode = TIM_MASTERSLAVEMODE_DISABLE;
  if (HAL_TIMEx_MasterConfigSynchronization(&htim2, &sMasterConfig) != HAL_OK)
  {
    Error_Handler();
  }

}

static void MX_TIM3_Init(void)
{

  TIM_ClockConfigTypeDef sClockSourceConfig = {0};
  TIM_MasterConfigTypeDef sMasterConfig = {0};
  TIM_OC_InitTypeDef sConfigOC = {0};

  htim3.Instance = TIM3;
  htim3.Init.Prescaler = 0;
  htim3.Init.CounterMode = TIM_COUNTERMODE_UP;
  htim3.Init.Period = 1000;
  htim3.Init.ClockDivision = TIM_CLOCKDIVISION_DIV1;
  htim3.Init.AutoReloadPreload = TIM_AUTORELOAD_PRELOAD_ENABLE;
  if (HAL_TIM_Base_Init(&htim3) != HAL_OK)
  {
    Error_Handler();
  }
  sClockSourceConfig.ClockSource = TIM_CLOCKSOURCE_INTERNAL;
  if (HAL_TIM_ConfigClockSource(&htim3, &sClockSourceConfig) != HAL_OK)
  {
    Error_Handler();
  }
  if (HAL_TIM_OC_Init(&htim3) != HAL_OK)
  {
    Error_Handler();
  }
  sMasterConfig.MasterOutputTrigger = TIM_TRGO_UPDATE;
  sMasterConfig.MasterSlaveMode = TIM_MASTERSLAVEMODE_DISABLE;
  if (HAL_TIMEx_MasterConfigSynchronization(&htim3, &sMasterConfig) != HAL_OK)
  {
    Error_Handler();
  }
  sConfigOC.OCMode = TIM_OCMODE_FORCED_ACTIVE;
  sConfigOC.Pulse = 0;
  sConfigOC.OCPolarity = TIM_OCPOLARITY_HIGH;
  sConfigOC.OCFastMode = TIM_OCFAST_DISABLE;
  if (HAL_TIM_OC_ConfigChannel(&htim3, &sConfigOC, TIM_CHANNEL_3) != HAL_OK)
  {
    Error_Handler();
  }
  HAL_TIM_MspPostInit(&htim3);

}

static void MX_USART1_UART_Init(void)
{

  huart1.Instance = USART1;
  huart1.Init.BaudRate = 9600;
  huart1.Init.WordLength = UART_WORDLENGTH_8B;
  huart1.Init.StopBits = UART_STOPBITS_1;
  huart1.Init.Parity = UART_PARITY_NONE;
  huart1.Init.Mode = UART_MODE_TX_RX;
  huart1.Init.HwFlowCtl = UART_HWCONTROL_NONE;
  huart1.Init.OverSampling = UART_OVERSAMPLING_16;
  huart1.Init.OneBitSampling = UART_ONE_BIT_SAMPLE_DISABLE;
  huart1.Init.ClockPrescaler = UART_PRESCALER_DIV1;
  huart1.AdvancedInit.AdvFeatureInit = UART_ADVFEATURE_NO_INIT;
  if (HAL_UART_Init(&huart1) != HAL_OK)
  {
    Error_Handler();
  }
  if (HAL_UARTEx_SetTxFifoThreshold(&huart1, UART_TXFIFO_THRESHOLD_1_8) != HAL_OK)
  {
    Error_Handler();
  }
  if (HAL_UARTEx_SetRxFifoThreshold(&huart1, UART_RXFIFO_THRESHOLD_1_8) != HAL_OK)
  {
    Error_Handler();
  }
  if (HAL_UARTEx_DisableFifoMode(&huart1) != HAL_OK)
  {
    Error_Handler();
  }

}

static void MX_GPIO_Init(void)
{
  GPIO_InitTypeDef GPIO_InitStruct = {0};

  /* GPIO Ports Clock Enable */
  __HAL_RCC_GPIOB_CLK_ENABLE();
  __HAL_RCC_GPIOF_CLK_ENABLE();
  __HAL_RCC_GPIOA_CLK_ENABLE();
  __HAL_RCC_GPIOC_CLK_ENABLE();

  /*Configure GPIO pin Output Level */
  HAL_GPIO_WritePin(GPIOB, SPI_CS_Pin|SPI_RST_Pin, GPIO_PIN_RESET);

  /*Configure GPIO pin Output Level */
  HAL_GPIO_WritePin(GPIOA, MS_PINS_Pin|DIRR_Pin, GPIO_PIN_RESET);

  /*Configure GPIO pin Output Level */
  HAL_GPIO_WritePin(Led_GPIO_Port, Led_Pin, GPIO_PIN_RESET);

  /*Configure GPIO pins : SPI_CS_Pin SPI_RST_Pin */
  GPIO_InitStruct.Pin = SPI_CS_Pin|SPI_RST_Pin;
  GPIO_InitStruct.Mode = GPIO_MODE_OUTPUT_PP;
  GPIO_InitStruct.Pull = GPIO_NOPULL;
  GPIO_InitStruct.Speed = GPIO_SPEED_FREQ_LOW;
  HAL_GPIO_Init(GPIOB, &GPIO_InitStruct);

  /*Configure GPIO pin : PF2 */
  GPIO_InitStruct.Pin = GPIO_PIN_2;
  GPIO_InitStruct.Mode = GPIO_MODE_AF_PP;
  GPIO_InitStruct.Pull = GPIO_NOPULL;
  GPIO_InitStruct.Speed = GPIO_SPEED_FREQ_LOW;
  GPIO_InitStruct.Alternate = GPIO_AF0_MCO;
  HAL_GPIO_Init(GPIOF, &GPIO_InitStruct);

  /*Configure GPIO pin : PA0 */
  GPIO_InitStruct.Pin = GPIO_PIN_0;
  GPIO_InitStruct.Mode = GPIO_MODE_IT_RISING;
  GPIO_InitStruct.Pull = GPIO_NOPULL;
  HAL_GPIO_Init(GPIOA, &GPIO_InitStruct);

  /*Configure GPIO pins : MS_PINS_Pin DIRR_Pin */
  GPIO_InitStruct.Pin = MS_PINS_Pin|DIRR_Pin;
  GPIO_InitStruct.Mode = GPIO_MODE_OUTPUT_PP;
  GPIO_InitStruct.Pull = GPIO_NOPULL;
  GPIO_InitStruct.Speed = GPIO_SPEED_FREQ_LOW;
  HAL_GPIO_Init(GPIOA, &GPIO_InitStruct);

  /*Configure GPIO pin : Led_Pin */
  GPIO_InitStruct.Pin = Led_Pin;
  GPIO_InitStruct.Mode = GPIO_MODE_OUTPUT_PP;
  GPIO_InitStruct.Pull = GPIO_NOPULL;
  GPIO_InitStruct.Speed = GPIO_SPEED_FREQ_LOW;
  HAL_GPIO_Init(Led_GPIO_Port, &GPIO_InitStruct);

  /*Configure GPIO pins : ENC_2_Pin ENC_BTN_Pin ENC_1_Pin */
  GPIO_InitStruct.Pin = ENC_2_Pin|ENC_BTN_Pin|ENC_1_Pin;
  GPIO_InitStruct.Mode = GPIO_MODE_INPUT;
  GPIO_InitStruct.Pull = GPIO_PULLUP;
  HAL_GPIO_Init(GPIOB, &GPIO_InitStruct);

  /* EXTI interrupt init*/
  HAL_NVIC_SetPriority(EXTI0_1_IRQn, 0, 0);
  HAL_NVIC_EnableIRQ(EXTI0_1_IRQn);

}

/* USER CODE BEGIN 4 */
PUTCHAR_PROTOTYPE									//printf def to uart
{
  /* Place your implementation of fputc here */
  /* e.g. write a character to the EVAL_COM1 and Loop until the end of transmission */
  HAL_UART_Transmit(&huart1, (uint8_t *)&ch, 1, 0xFFFF);
  return ch;
}

GETCHAR_PROTOTYPE
{
  uint8_t ch = 0;
  // Clear the Overrun flag just before receiving the first character
  __HAL_UART_CLEAR_OREFLAG(&huart1);

  HAL_UART_Receive(&huart1, (uint8_t *)&ch, 1, 0xFFFF);
  //HAL_UART_Transmit(&huart1, (uint8_t *)&ch, 1, 0xFFFF);
  return ch;
}

void HAL_TIM_PeriodElapsedCallback(TIM_HandleTypeDef *htim)
{
  /* Prevent unused argument(s) compilation warning */
  UNUSED(htim);

  /* NOTE : This function should not be modified, when the callback is needed,
            the HAL_TIM_PeriodElapsedCallback could be implemented in the user file
   */

	if(htim->Instance == TIM2) // 1 sec
  {
		Count++;
		HAL_GPIO_TogglePin(Led_GPIO_Port, Led_Pin);
	}

}

void HAL_GPIO_EXTI_Callback(uint16_t GPIO_Pin)
{
  /* Prevent unused argument(s) compilation warning */
  UNUSED(GPIO_Pin);
  /* NOTE: This function Should not be modified, when the callback is needed,
           the HAL_GPIO_EXTI_Callback could be implemented in the user file
   */

	if(!HAL_GPIO_ReadPin(GPIOA, GPIO_PIN_0)){
	//HAL_GPIO_WritePin(GPIOA, STEP_Pin, GPIO_PIN_RESET);
		TIM3->CCR3=0;
		TIM2->CCR1=0;
	}
}

/* USER CODE END 4 */

void Error_Handler(void)
{
  __disable_irq();
  while (1)
  {
  }
}

/************************ (C) COPYRIGHT STMicroelectronics *****END OF FILE****/
